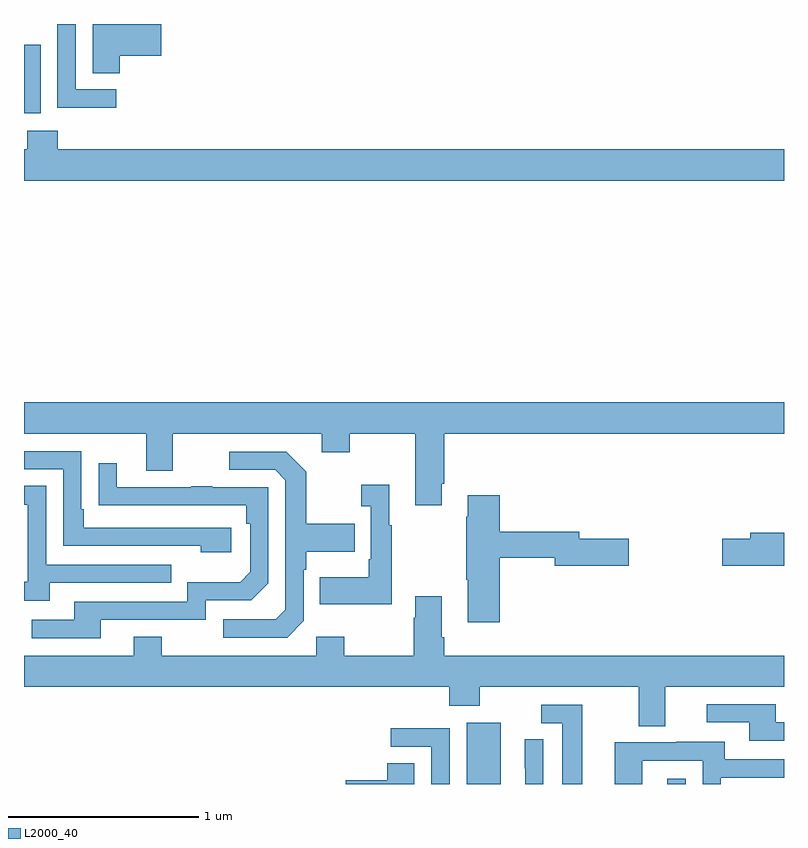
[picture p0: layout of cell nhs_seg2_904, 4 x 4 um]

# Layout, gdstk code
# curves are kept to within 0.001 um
import gdstk
lib = gdstk.Library(unit=1e-6, precision=1e-09)
def R(c, l, rs):  # rectangles x0, y0, x1, y1
    for r in rs: c.add(gdstk.rectangle(r[:2], r[2:], *l))
def P(c, l, *ps):  # polygons
    for p in ps: c.add(gdstk.Polygon(p, *l))
L2000_40 = (2000, 40)

nhs_seg2_904 = lib.new_cell('nhs_seg2_904')
R(nhs_seg2_904, L2000_40, [(159.329,637.8,159.508,638.122), (160.385,637.8,160.482,637.828), (157,641.33,157.087,641.691)])
P(nhs_seg2_904, L2000_40, [(157.505,641.633),(157.723,641.633),(157.723,641.8),(157.361,641.8),(157.361,641.542),(157.505,641.542)],
  [(157.486,641.457),(157.272,641.457),(157.272,641.8),(157.174,641.8),(157.174,641.788),(157.176,641.788),(157.176,641.359),(157.486,641.359)],
  [(161,641.14),(157.178,641.14),(157.178,641.239),(157.018,641.239),(157.018,641.14),(157,641.14),(157,640.976),(161,640.976)],
  [(157,639.644),(157.643,639.644),(157.643,639.45),(157.783,639.45),(157.783,639.644),(158.567,639.644),(158.567,639.545),(158.715,639.545),(158.715,639.644),(159.059,639.644),(159.059,639.267),(159.199,639.267),(159.199,639.379),(159.212,639.379),(159.212,639.644),(161,639.644),(161,639.808),(157,639.808)],
  [(158.092,639.15),(157.315,639.15),(157.315,639.247),(157.302,639.247),(157.302,639.552),(157,639.552),(157,639.456),(157.206,639.456),(157.206,639.054),(157.931,639.054),(157.931,639.02),(158.092,639.02)],
  [(158.472,638.658),(158.472,638.927),(158.485,638.927),(158.485,639.023),(158.741,639.023),(158.741,639.171),(158.485,639.171),(158.485,639.443),(158.379,639.549),(158.079,639.549),(158.079,639.453),(158.322,639.453),(158.376,639.399),(158.376,638.718),(158.325,638.667),(158.049,638.667),(158.049,638.571),(158.385,638.571)],
  [(157.405,638.664),(157.956,638.664),(157.956,638.766),(158.196,638.766),(158.286,638.856),(158.286,639.363),(157.991,639.363),(157.991,639.368),(157.879,639.368),(157.879,639.363),(157.489,639.363),(157.489,639.487),(157.393,639.487),(157.393,639.268),(158.17,639.267),(158.17,639.17),(158.19,639.17),(158.19,638.916),(158.137,638.863),(157.86,638.863),(157.86,638.76),(157.265,638.76),(157.265,638.664),(157.041,638.664),(157.041,638.568),(157.405,638.568)],
  [(158.935,639.163),(158.923,639.163),(158.923,639.376),(158.775,639.376),(158.775,639.263),(158.826,639.263),(158.826,638.983),(158.814,638.983),(158.814,638.887),(158.557,638.887),(158.557,638.747),(158.935,638.747)],
  [(157.135,638.859),(157.775,638.859),(157.775,638.955),(157.116,638.955),(157.116,639.371),(157,639.371),(157,639.27),(157.02,639.27),(157.02,638.865),(157,638.865),(157,638.765),(157.135,638.765)],
  [(159.503,638.992),(159.794,638.992),(159.794,638.95),(160.183,638.95),(160.183,639.092),(159.922,639.092),(159.922,639.128),(159.503,639.128),(159.503,639.319),(159.335,639.319),(159.335,639.206),(159.328,639.206),(159.328,638.875),(159.335,638.875),(159.335,638.652),(159.503,638.652)],
  [(161,639.122),(160.823,639.122),(160.823,639.092),(160.674,639.092),(160.674,638.95),(161,638.95)],
  [(160.375,638.312),(161,638.312),(161,638.476),(159.212,638.476),(159.212,638.572),(159.199,638.572),(159.199,638.788),(159.059,638.788),(159.059,638.675),(159.052,638.675),(159.052,638.476),(158.685,638.476),(158.685,638.575),(158.538,638.575),(158.538,638.476),(157.725,638.476),(157.725,638.575),(157.577,638.575),(157.577,638.476),(157,638.476),(157,638.312),(159.239,638.312),(159.239,638.213),(159.399,638.213),(159.399,638.312),(160.235,638.312),(160.235,638.104),(160.375,638.104)],
  [(161,638.124),(160.957,638.124),(160.957,638.22),(160.593,638.22),(160.593,638.124),(160.817,638.124),(160.817,638.028),(161,638.028)],
  [(159.937,638.217),(159.723,638.217),(159.723,638.121),(159.833,638.121),(159.833,637.8),(159.937,637.8)],
  [(159.24,638.094),(158.931,638.094),(158.931,637.995),(159.144,637.995),(159.144,637.8),(159.24,637.8)],
  [(159.732,638.036),(159.636,638.036),(159.636,637.882),(159.638,637.882),(159.638,637.8),(159.732,637.8)],
  [(160.254,637.923),(160.572,637.923),(160.572,637.8),(160.668,637.8),(160.668,637.833),(161,637.833),(161,637.929),(160.687,637.929),(160.687,638.023),(160.433,638.023),(160.433,638.019),(160.109,638.019),(160.109,637.8),(160.254,637.8)],
  [(159.055,637.91),(158.912,637.91),(158.912,637.82),(158.694,637.82),(158.694,637.8),(159.055,637.8)])

lib.write_gds('nhs_seg2_904.gds')
